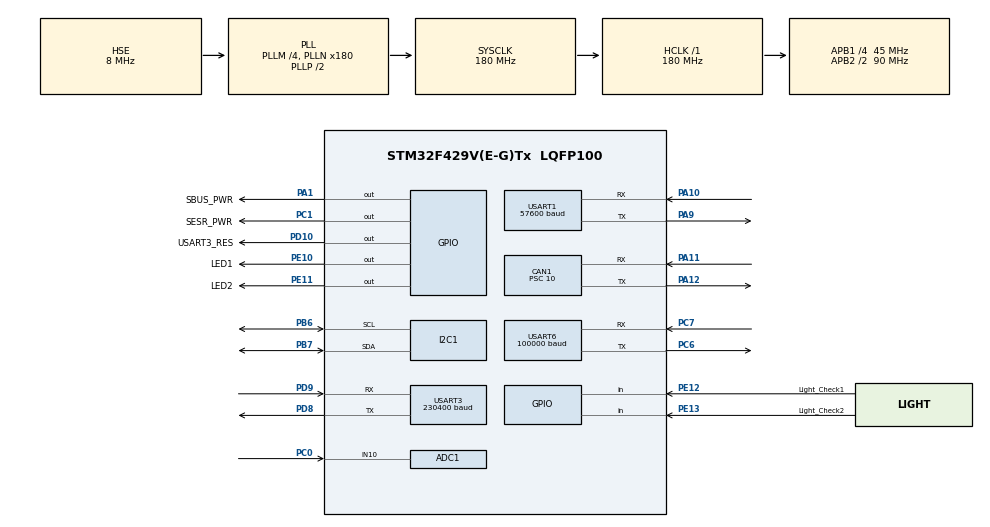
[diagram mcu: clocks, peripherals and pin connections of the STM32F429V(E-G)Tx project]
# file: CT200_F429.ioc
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ADC1.Channel-3\#ChannelRegularConversion=ADC_CHANNEL_TEMPSENSOR
ADC1.Channel-4\#ChannelRegularConversion=ADC_CHANNEL_10
ADC1.ContinuousConvMode=DISABLE
ADC1.DMAContinuousRequests=DISABLE
ADC1.DiscontinuousConvMode=ENABLE
ADC1.NbrOfConversion=2
ADC1.NbrOfConversionFlag=1
ADC1.Rank-3\#ChannelRegularConversion=1
ADC1.Rank-4\#ChannelRegularConversion=2
ADC1.SamplingTime-3\#ChannelRegularConversion=ADC_SAMPLETIME_112CYCLES
ADC1.SamplingTime-4\#ChannelRegularConversion=ADC_SAMPLETIME_112CYCLES
ADC1.ScanConvMode=ENABLE
ADC1.master=1
CAN1.ABOM=ENABLE
CAN1.AWUM=ENABLE
CAN1.BS1=CAN_BS1_9TQ
CAN1.BS2=CAN_BS2_8TQ
CAN1.CalculateBaudRate=250000
CAN1.CalculateTimeBit=4000
CAN1.CalculateTimeQuantum=222.22222222222223
CAN1.Prescaler=10
Dma.I2C1_RX.3.Direction=DMA_PERIPH_TO_MEMORY
Dma.I2C1_RX.3.FIFOMode=DMA_FIFOMODE_DISABLE
Dma.I2C1_RX.3.Instance=DMA1_Stream0
Dma.I2C1_RX.3.MemDataAlignment=DMA_MDATAALIGN_BYTE
Dma.I2C1_RX.3.MemInc=DMA_MINC_ENABLE
Dma.I2C1_RX.3.Mode=DMA_NORMAL
Dma.I2C1_RX.3.PeriphDataAlignment=DMA_PDATAALIGN_BYTE
Dma.I2C1_RX.3.PeriphInc=DMA_PINC_DISABLE
Dma.I2C1_RX.3.Priority=DMA_PRIORITY_HIGH
Dma.I2C1_TX.4.Direction=DMA_MEMORY_TO_PERIPH
Dma.I2C1_TX.4.FIFOMode=DMA_FIFOMODE_DISABLE
Dma.I2C1_TX.4.Instance=DMA1_Stream6
Dma.I2C1_TX.4.MemDataAlignment=DMA_MDATAALIGN_BYTE
Dma.I2C1_TX.4.MemInc=DMA_MINC_ENABLE
Dma.I2C1_TX.4.Mode=DMA_NORMAL
Dma.I2C1_TX.4.PeriphDataAlignment=DMA_PDATAALIGN_BYTE
Dma.I2C1_TX.4.PeriphInc=DMA_PINC_DISABLE
Dma.I2C1_TX.4.Priority=DMA_PRIORITY_HIGH
Dma.Request0=USART3_RX
Dma.Request1=USART3_TX
Dma.Request2=USART6_RX
Dma.Request3=I2C1_RX
Dma.Request4=I2C1_TX
Dma.Request5=USART1_RX
Dma.Request6=USART1_TX
Dma.USART1_RX.5.Direction=DMA_PERIPH_TO_MEMORY
Dma.USART1_RX.5.FIFOMode=DMA_FIFOMODE_DISABLE
Dma.USART1_RX.5.Instance=DMA2_Stream2
Dma.USART1_RX.5.MemDataAlignment=DMA_MDATAALIGN_BYTE
Dma.USART1_RX.5.MemInc=DMA_MINC_ENABLE
Dma.USART1_RX.5.Mode=DMA_NORMAL
Dma.USART1_RX.5.PeriphDataAlignment=DMA_PDATAALIGN_BYTE
Dma.USART1_RX.5.PeriphInc=DMA_PINC_DISABLE
Dma.USART1_RX.5.Priority=DMA_PRIORITY_LOW
Dma.USART1_TX.6.Direction=DMA_MEMORY_TO_PERIPH
Dma.USART1_TX.6.FIFOMode=DMA_FIFOMODE_DISABLE
Dma.USART1_TX.6.Instance=DMA2_Stream7
Dma.USART1_TX.6.MemDataAlignment=DMA_MDATAALIGN_BYTE
Dma.USART1_TX.6.MemInc=DMA_MINC_ENABLE
Dma.USART1_TX.6.Mode=DMA_NORMAL
Dma.USART1_TX.6.PeriphDataAlignment=DMA_PDATAALIGN_BYTE
Dma.USART1_TX.6.PeriphInc=DMA_PINC_DISABLE
Dma.USART1_TX.6.Priority=DMA_PRIORITY_LOW
Dma.USART3_RX.0.Direction=DMA_PERIPH_TO_MEMORY
Dma.USART3_RX.0.FIFOMode=DMA_FIFOMODE_DISABLE
Dma.USART3_RX.0.Instance=DMA1_Stream1
Dma.USART3_RX.0.MemDataAlignment=DMA_MDATAALIGN_BYTE
Dma.USART3_RX.0.MemInc=DMA_MINC_ENABLE
Dma.USART3_RX.0.Mode=DMA_NORMAL
Dma.USART3_RX.0.PeriphDataAlignment=DMA_PDATAALIGN_BYTE
Dma.USART3_RX.0.PeriphInc=DMA_PINC_DISABLE
Dma.USART3_RX.0.Priority=DMA_PRIORITY_LOW
Dma.USART3_TX.1.Direction=DMA_MEMORY_TO_PERIPH
Dma.USART3_TX.1.FIFOMode=DMA_FIFOMODE_DISABLE
Dma.USART3_TX.1.Instance=DMA1_Stream3
Dma.USART3_TX.1.MemDataAlignment=DMA_MDATAALIGN_BYTE
Dma.USART3_TX.1.MemInc=DMA_MINC_ENABLE
Dma.USART3_TX.1.Mode=DMA_NORMAL
Dma.USART3_TX.1.PeriphDataAlignment=DMA_PDATAALIGN_BYTE
Dma.USART3_TX.1.PeriphInc=DMA_PINC_DISABLE
Dma.USART3_TX.1.Priority=DMA_PRIORITY_VERY_HIGH
Dma.USART6_RX.2.Direction=DMA_PERIPH_TO_MEMORY
Dma.USART6_RX.2.FIFOMode=DMA_FIFOMODE_DISABLE
Dma.USART6_RX.2.Instance=DMA2_Stream1
Dma.USART6_RX.2.MemDataAlignment=DMA_MDATAALIGN_BYTE
Dma.USART6_RX.2.MemInc=DMA_MINC_ENABLE
Dma.USART6_RX.2.Mode=DMA_CIRCULAR
Dma.USART6_RX.2.PeriphDataAlignment=DMA_PDATAALIGN_BYTE
Dma.USART6_RX.2.PeriphInc=DMA_PINC_DISABLE
Dma.USART6_RX.2.Priority=DMA_PRIORITY_MEDIUM
FREERTOS.BinarySemaphores01=BinarySem01,Dynamic,NULL;BinarySem02,Dynamic,NULL
FREERTOS.INCLUDE_vTaskDelayUntil=1
FREERTOS.Tasks01=Task01,-1,512,StartTask01,Default,NULL,Dynamic,NULL,NULL;Task02,2,128,StartTask02,Default,NULL,Dynamic,NULL,NULL;Task03,0,128,StartTask03,Default,NULL,Dynamic,NULL,NULL;Task04,1,128,StartTask04,Default,NULL,Dynamic,NULL,NULL
FREERTOS.Timers01=myTimer01,Callback01,osTimerPeriodic,Default,NULL,Dynamic,NULL
FREERTOS.configUSE_TIMERS=1
I2C1.I2C_Mode=I2C_Fast
IWDG.Prescaler=IWDG_PRESCALER_64
Mcu.Family=STM32F4
Mcu.Name=STM32F429V(E-G)Tx
Mcu.Package=LQFP100
NVIC.CAN1_RX0_IRQn=true\:5\:0\:false\:false\:true\:true\:true\:true\:true
NVIC.DMA1_Stream0_IRQn=true\:5\:0\:false\:false\:true\:true\:false\:true\:true
NVIC.DMA1_Stream1_IRQn=true\:5\:0\:false\:false\:true\:true\:false\:true\:true
NVIC.DMA1_Stream3_IRQn=true\:5\:0\:false\:false\:true\:true\:false\:true\:true
NVIC.DMA1_Stream6_IRQn=true\:5\:0\:false\:false\:true\:true\:false\:true\:true
NVIC.DMA2_Stream1_IRQn=true\:5\:0\:false\:false\:true\:true\:false\:true\:true
NVIC.DMA2_Stream2_IRQn=true\:5\:0\:false\:false\:true\:true\:false\:true\:true
NVIC.DMA2_Stream7_IRQn=true\:5\:0\:false\:false\:true\:true\:false\:true\:true
NVIC.I2C1_ER_IRQn=true\:5\:0\:false\:false\:true\:true\:true\:true\:true
NVIC.I2C1_EV_IRQn=true\:5\:0\:false\:false\:true\:true\:true\:true\:true
NVIC.PriorityGroup=NVIC_PRIORITYGROUP_4
NVIC.TIM1_UP_TIM10_IRQn=true\:15\:0\:false\:false\:true\:false\:false\:true\:true
NVIC.TIM3_IRQn=true\:5\:0\:false\:false\:true\:true\:true\:true\:true
NVIC.TimeBase=TIM1_UP_TIM10_IRQn
NVIC.TimeBaseIP=TIM1
NVIC.USART1_IRQn=true\:5\:0\:false\:false\:true\:true\:true\:true\:true
NVIC.USART3_IRQn=true\:5\:0\:false\:false\:true\:true\:true\:true\:true
NVIC.USART6_IRQn=true\:5\:0\:false\:false\:true\:true\:true\:true\:true
PA0/WKUP.Mode=SYS_WakeUp0
PA0/WKUP.Signal=SYS_WKUP
PA1.GPIO_Label=SBUS_PWR 
PA1.PinState=GPIO_PIN_SET
PA1.Signal=GPIO_Output
PA10.Mode=Asynchronous
PA10.Signal=USART1_RX
PA11.Mode=CAN_Activate
PA11.Signal=CAN1_RX
PA12.Mode=CAN_Activate
PA12.Signal=CAN1_TX
PA13.Mode=Serial_Wire
PA13.Signal=SYS_JTMS-SWDIO
PA14.Mode=Serial_Wire
PA14.Signal=SYS_JTCK-SWCLK
PA9.Mode=Asynchronous
PA9.Signal=USART1_TX
PB6.Mode=I2C
PB6.Signal=I2C1_SCL
PB7.Mode=I2C
PB7.Signal=I2C1_SDA
PC0.Signal=ADCx_IN10
PC1.GPIO_Label=SESR_PWR
PC1.PinState=GPIO_PIN_SET
PC1.Signal=GPIO_Output
PC6.Mode=Asynchronous
PC6.Signal=USART6_TX
PC7.Mode=Asynchronous
PC7.Signal=USART6_RX
PD10.GPIO_Label=USART3_RES
PD10.Signal=GPIO_Output
PD8.Mode=Asynchronous
PD8.Signal=USART3_TX
PD9.Mode=Asynchronous
PD9.Signal=USART3_RX
PE10.GPIO_Label=LED1
PE10.Signal=GPIO_Output
PE11.GPIO_Label=LED2
PE11.Signal=GPIO_Output
PE12.GPIO_Label=Light_Check1
PE12.Signal=GPIO_Input
PE13.GPIO_Label=Light_Check2
PE13.Signal=GPIO_Input
PH0/OSC_IN.Mode=HSE-External-Oscillator
PH0/OSC_IN.Signal=RCC_OSC_IN
PH1/OSC_OUT.Mode=HSE-External-Oscillator
PH1/OSC_OUT.Signal=RCC_OSC_OUT
ProjectManager.HeapSize=0x200
ProjectManager.StackSize=0x400
ProjectManager.TargetToolchain=MDK-ARM V5.32
RCC.48MHZClocksFreq_Value=45000000
RCC.AHBFreq_Value=180000000
RCC.APB1CLKDivider=RCC_HCLK_DIV4
RCC.APB1Freq_Value=45000000
RCC.APB1TimFreq_Value=90000000
RCC.APB2CLKDivider=RCC_HCLK_DIV2
RCC.APB2Freq_Value=90000000
RCC.APB2TimFreq_Value=180000000
RCC.CortexFreq_Value=180000000
RCC.HCLKFreq_Value=180000000
RCC.HSE_VALUE=8000000
RCC.HSI_VALUE=16000000
RCC.LSE_VALUE=32768
RCC.PLLM=4
RCC.PLLN=180
RCC.PLLQ=8
RCC.PLLSourceVirtual=RCC_PLLSOURCE_HSE
RCC.SYSCLKFreq_VALUE=180000000
RCC.SYSCLKSource=RCC_SYSCLKSOURCE_PLLCLK
RCC.VCOOutputFreq_Value=360000000
SH.ADCx_IN10.0=ADC1_IN10,IN10
TIM3.AutoReloadPreload=TIM_AUTORELOAD_PRELOAD_DISABLE
TIM3.CounterMode=TIM_COUNTERMODE_UP
TIM3.Period=1000-1
TIM3.Prescaler=90-1
USART1.BaudRate=57600
USART1.VirtualMode=VM_ASYNC
USART3.BaudRate=230400
USART3.VirtualMode=VM_ASYNC
USART6.BaudRate=100000
USART6.Mode=MODE_RX
USART6.Parity=PARITY_EVEN
USART6.StopBits=STOPBITS_2
USART6.VirtualMode=VM_ASYNC
VP_ADC1_TempSens_Input.Mode=IN-TempSens
VP_FREERTOS_VS_CMSIS_V1.Mode=CMSIS_V1
VP_IWDG_VS_IWDG.Mode=IWDG_Activate
VP_SYS_VS_tim1.Mode=TIM1
VP_TIM3_VS_ClockSourceINT.Mode=Internal
board=custom

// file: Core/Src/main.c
/* USER CODE BEGIN Header */
/**
  ******************************************************************************
  * @file           : main.c
  * @brief          : Main program body
  ******************************************************************************
  * @attention
  *
  * <h2><center>&copy; Copyright (c) 2022 STMicroelectronics.
  * All rights reserved.</center></h2>
  *
  * This software component is licensed by ST under Ultimate Liberty license
  * SLA0044, the "License"; You may not use this file except in compliance with
  * the License. You may obtain a copy of the License at:
  *                             www.st.com/SLA0044
  *
  ******************************************************************************
  */
/* USER CODE END Header */
#include "main.h"
#include "cmsis_os.h"
#include "adc.h"
#include "can.h"
#include "dma.h"
#include "i2c.h"
#include "iwdg.h"
#include "tim.h"
#include "usart.h"
#include "gpio.h"

/* USER CODE BEGIN Includes */
#include "handle.h"
#include "air820.h"
#include "CANopen_Master_M200.h"
#include "canfestival.h"
#include "can_device.h"
/* USER CODE END Includes */

/* USER CODE BEGIN PV */
unsigned char nodeID=0x00;
extern CO_Data CANopen_Master_M200_Data;
char softWareName[16];
//UNS8 data = 0;
//UNS32 size = 0;

/* USER CODE END PV */

void SystemClock_Config(void);
void MX_FREERTOS_Init(void);

int main(void)
{
  /* USER CODE BEGIN 1 */
  //	SCB->VTOR = FLASHSIZE_BASE | 0x10000;
	control_flag.resetSource = 0;
	getSysReseySource();
	__HAL_RCC_CLEAR_RESET_FLAGS();

  /* USER CODE END 1 */

  /* MCU Configuration--------------------------------------------------------*/

  /* Reset of all peripherals, Initializes the Flash interface and the Systick. */
  HAL_Init();

  /* Configure the system clock */
  SystemClock_Config();

  /* Initialize all configured peripherals */
  MX_GPIO_Init();
  MX_DMA_Init();
  MX_USART1_UART_Init();
  MX_USART3_UART_Init();
  MX_USART6_UART_Init();
  MX_CAN1_Init();
  MX_I2C1_Init();
  MX_ADC1_Init();
  //MX_IWDG_Init();
  MX_TIM3_Init();
  /* USER CODE BEGIN 2 */
	//HAL_ADC_Start_DMA(&hadc1, (uint32_t *)&ADC_VALUE, 1);

	HAL_ADC_Start(&hadc1);
	HAL_TIM_Base_Start_IT(&htim3);
	// HAL_UART_Receive_DMA(&huart3,(uint8_t *)usart3_handle_4g.rx_buf,RX_SIZE);
    // __HAL_UART_ENABLE_IT(&huart3, UART_IT_IDLE);

  HAL_UART_Receive_DMA(&huart3, (uint8_t*)&mpu_rec_pack, sizeof(MPU_REC_PACK));
  __HAL_UART_ENABLE_IT(&huart3, UART_IT_IDLE);

	HAL_UART_Receive_DMA(&huart1,(uint8_t *)usart1_handle_sbus.rx_buf,RX_SIZE);
  __HAL_UART_ENABLE_IT(&huart1, UART_IT_IDLE);

    // CAN滤波配置
	can_filter_config();

	/* CAN主机初始化 */
	setNodeId(&CANopen_Master_M200_Data, nodeID);
	setState(&CANopen_Master_M200_Data, Operational);        // Init the state

	control_init();		// 控制参数初始化
	device_init();		// 设备初始化

	// 4G模块初始化
    //air_4g_init(0,0);

    // 启动所有CAN从机
	carDeviceStart();

    // CAN从机版本号读取
	canDeviceVersionRead();

    // 看门狗初始化
	// MX_IWDG_Init();
  /* USER CODE END 2 */

  /* Call init function for freertos objects (in freertos.c) */
  MX_FREERTOS_Init();

  /* Start scheduler */
  osKernelStart();
  /* We should never get here as control is now taken by the scheduler */
  /* Infinite loop */
  while (1)
  {

  }
}

void SystemClock_Config(void)
{
  RCC_OscInitTypeDef RCC_OscInitStruct = {0};
  RCC_ClkInitTypeDef RCC_ClkInitStruct = {0};

  /** Configure the main internal regulator output voltage
  */
  __HAL_RCC_PWR_CLK_ENABLE();
  __HAL_PWR_VOLTAGESCALING_CONFIG(PWR_REGULATOR_VOLTAGE_SCALE1);

  /** Initializes the RCC Oscillators according to the specified parameters
  * in the RCC_OscInitTypeDef structure.
  */
  RCC_OscInitStruct.OscillatorType = RCC_OSCILLATORTYPE_LSI|RCC_OSCILLATORTYPE_HSE;
  RCC_OscInitStruct.HSEState = RCC_HSE_ON;
  RCC_OscInitStruct.LSIState = RCC_LSI_ON;
  RCC_OscInitStruct.PLL.PLLState = RCC_PLL_ON;
  RCC_OscInitStruct.PLL.PLLSource = RCC_PLLSOURCE_HSE;
  RCC_OscInitStruct.PLL.PLLM = 4;
  RCC_OscInitStruct.PLL.PLLN = 180;
  RCC_OscInitStruct.PLL.PLLP = RCC_PLLP_DIV2;
  RCC_OscInitStruct.PLL.PLLQ = 8;
  if (HAL_RCC_OscConfig(&RCC_OscInitStruct) != HAL_OK)
  {
    Error_Handler();
  }

  /** Activate the Over-Drive mode
  */
  if (HAL_PWREx_EnableOverDrive() != HAL_OK)
  {
    Error_Handler();
  }

  /** Initializes the CPU, AHB and APB buses clocks
  */
  RCC_ClkInitStruct.ClockType = RCC_CLOCKTYPE_HCLK|RCC_CLOCKTYPE_SYSCLK
                              |RCC_CLOCKTYPE_PCLK1|RCC_CLOCKTYPE_PCLK2;
  RCC_ClkInitStruct.SYSCLKSource = RCC_SYSCLKSOURCE_PLLCLK;
  RCC_ClkInitStruct.AHBCLKDivider = RCC_SYSCLK_DIV1;
  RCC_ClkInitStruct.APB1CLKDivider = RCC_HCLK_DIV4;
  RCC_ClkInitStruct.APB2CLKDivider = RCC_HCLK_DIV2;

  if (HAL_RCC_ClockConfig(&RCC_ClkInitStruct, FLASH_LATENCY_5) != HAL_OK)
  {
    Error_Handler();
  }
}

void HAL_TIM_PeriodElapsedCallback(TIM_HandleTypeDef *htim)
{
  if (htim->Instance == TIM1) {
    HAL_IncTick();
		if(air_4g_flag.get_realtime_flag == TRUE)
		{
			control_flag.realTimer_ms_1000++;
			if(control_flag.realTimer_ms_1000 == 1000)
			{
				control_flag.realTimer_ms_1000 = 0;
				timer_info.timestamp++;
			}
		}

  }
  /* USER CODE BEGIN Callback 1 */
	if (htim->Instance == TIM3) {
    timerForCan();
  }
  /* USER CODE END Callback 1 */
}

void Error_Handler(void)
{
  __disable_irq();
  while (1)
  {
  }
}

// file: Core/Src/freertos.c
/* USER CODE BEGIN Header */
/**
  ******************************************************************************
  * File Name          : freertos.c
  * Description        : Code for freertos applications
  ******************************************************************************
  * @attention
  *
  * <h2><center>&copy; Copyright (c) 2022 STMicroelectronics.
  * All rights reserved.</center></h2>
  *
  * This software component is licensed by ST under Ultimate Liberty license
  * SLA0044, the "License"; You may not use this file except in compliance with
  * the License. You may obtain a copy of the License at:
  *                             www.st.com/SLA0044
  *
  ******************************************************************************
  */
/* USER CODE END Header */

#include "FreeRTOS.h"
#include "task.h"
#include "main.h"
#include "cmsis_os.h"

/* USER CODE BEGIN Includes */
#include "handle.h"
#include "can.h"
#include "adc_read.h"
#include "can_device.h"
#include "iwdg.h"
#include "air820.h"
#include "canfestival.h"
#include "CANopen_Master_M200.h"
/* USER CODE END Includes */

/* USER CODE BEGIN Variables */
//int fan_num1 = 0;
//int fan_num2 = 0;

extern CO_Data CANopen_Master_M200_Data;
//uint8_t INDECATOR_LIGHT_IDLE = 0;			// 同步帧标志位
//uint16_t INDECATOR_LIGHT_IDLE_NUM = 0;

//UNS8 data = 0;
//UNS32 size = sizeof(data);

/* USER CODE END Variables */
osThreadId Task01Handle;
osThreadId Task02Handle;
osThreadId Task03Handle;
osThreadId Task04Handle;
osTimerId myTimer01Handle;
osSemaphoreId BinarySem01Handle;
osSemaphoreId BinarySem02Handle;

void StartTask01(void const * argument);
void StartTask02(void const * argument);
void StartTask03(void const * argument);
void StartTask04(void const * argument);
void Callback01(void const * argument);

void MX_FREERTOS_Init(void); /* (MISRA C 2004 rule 8.1) */

/* GetIdleTaskMemory prototype (linked to static allocation support) */
void vApplicationGetIdleTaskMemory( StaticTask_t **ppxIdleTaskTCBBuffer, StackType_t **ppxIdleTaskStackBuffer, uint32_t *pulIdleTaskStackSize );

/* GetTimerTaskMemory prototype (linked to static allocation support) */
void vApplicationGetTimerTaskMemory( StaticTask_t **ppxTimerTaskTCBBuffer, StackType_t **ppxTimerTaskStackBuffer, uint32_t *pulTimerTaskStackSize );

/* USER CODE BEGIN GET_IDLE_TASK_MEMORY */
static StaticTask_t xIdleTaskTCBBuffer;
static StackType_t xIdleStack[configMINIMAL_STACK_SIZE];

void vApplicationGetIdleTaskMemory( StaticTask_t **ppxIdleTaskTCBBuffer, StackType_t **ppxIdleTaskStackBuffer, uint32_t *pulIdleTaskStackSize )
{
  *ppxIdleTaskTCBBuffer = &xIdleTaskTCBBuffer;
  *ppxIdleTaskStackBuffer = &xIdleStack[0];
  *pulIdleTaskStackSize = configMINIMAL_STACK_SIZE;
  /* place for user code */
}
/* USER CODE END GET_IDLE_TASK_MEMORY */

/* USER CODE BEGIN GET_TIMER_TASK_MEMORY */
static StaticTask_t xTimerTaskTCBBuffer;
static StackType_t xTimerStack[configTIMER_TASK_STACK_DEPTH];

void vApplicationGetTimerTaskMemory( StaticTask_t **ppxTimerTaskTCBBuffer, StackType_t **ppxTimerTaskStackBuffer, uint32_t *pulTimerTaskStackSize )
{
  *ppxTimerTaskTCBBuffer = &xTimerTaskTCBBuffer;
  *ppxTimerTaskStackBuffer = &xTimerStack[0];
  *pulTimerTaskStackSize = configTIMER_TASK_STACK_DEPTH;
  /* place for user code */
}
/* USER CODE END GET_TIMER_TASK_MEMORY */

void MX_FREERTOS_Init(void) {

  /* Create the semaphores(s) */
  /* definition and creation of BinarySem01 */
  osSemaphoreDef(BinarySem01);
  BinarySem01Handle = osSemaphoreCreate(osSemaphore(BinarySem01), 1);

  /* definition and creation of BinarySem02 */
  osSemaphoreDef(BinarySem02);
  BinarySem02Handle = osSemaphoreCreate(osSemaphore(BinarySem02), 1);

  /* Create the timer(s) */
  /* definition and creation of myTimer01 */
  osTimerDef(myTimer01, Callback01);
  myTimer01Handle = osTimerCreate(osTimer(myTimer01), osTimerPeriodic, NULL);

  /* USER CODE BEGIN RTOS_TIMERS */
  /* start timers, add new ones, ... */
	osTimerStart(myTimer01Handle, 100);
  /* USER CODE END RTOS_TIMERS */

  /* Create the thread(s) */
  /* definition and creation of Task01 */
  osThreadDef(Task01, StartTask01, osPriorityBelowNormal, 0, 512);
  Task01Handle = osThreadCreate(osThread(Task01), NULL);

  /* definition and creation of Task02 */
  osThreadDef(Task02, StartTask02, osPriorityHigh, 0, 128);
  Task02Handle = osThreadCreate(osThread(Task02), NULL);

  /* definition and creation of Task03 */
  osThreadDef(Task03, StartTask03, osPriorityNormal, 0, 128);
  Task03Handle = osThreadCreate(osThread(Task03), NULL);

  /* definition and creation of Task04 */
  osThreadDef(Task04, StartTask04, osPriorityAboveNormal, 0, 128);
  Task04Handle = osThreadCreate(osThread(Task04), NULL);

}

void StartTask01(void const * argument)
{
  /* USER CODE BEGIN StartTask01 */
  /* Infinite loop *//*------------------------------4G--------------------------------*/
  for(;;)
  {

        if(control_flag.sTimer_ms_1000 >= Count_1s)
        {
            control_flag.sTimer_ms_1000 = 0;
            if (gps_info.gpsCheckcount < 120)
            {
              gps_info.gpsCheckcount++;
            }
            //运行状态下每120s检查一次GPS连接
            if(gps_info.gpsCheckcount == 120)
            {
              if(control_flag.Car_State == RUN)
              {
                if(gps_info.gps_signal_flag != 0x31)
                {
                  gpsReset(air_4g_flag.vTa_delay);
                  gps_info.gpsCheckcount = 0;
                  gps_info.gpsUrc =10;
                  gps_info.gpsUrcSet = 1;
                }
              }
            }

            if(control_flag.Car_State == RUN)
            {
                // air_4g_MPUB(control_flag.Car_State);    // 运行状态下发送
                air_4g_MPUB(RUN);    // 运行状态下发送
            }
            else if(control_flag.Car_State == CLOSE && control_flag.sTimer_ms_10000 == Count_10s)	//运行状态跳回睡眠状态、待机状态下需等待运行记录上报事件完毕
            {
                control_flag.sTimer_ms_10000 = 0;
                // air_4g_MPUB(control_flag.Car_State);    // 睡眠状态下发送
                air_4g_MPUB(CLOSE);    // 睡眠状态下发送
            }
            else if(control_flag.Car_State == OPEN && control_flag.sTimer_ms_5000 == Count_5s)
            {
                control_flag.sTimer_ms_5000 = 0;
                // air_4g_MPUB(control_flag.Car_State);    // 待机状态下发送
                air_4g_MPUB(OPEN);    // 待机状态下发送
            }
            else if(control_flag.Car_State == FAULT && control_flag.sTimer_ms_5000 == Count_5s)
            {
                control_flag.sTimer_ms_5000 = 0;
                // air_4g_MPUB(control_flag.Car_State);    //异常状态下发送
                air_4g_MPUB(FAULT);    //异常状态下发送
            }
            else if(control_flag.Car_State == RECHARGE && control_flag.sTimer_ms_10000 == Count_10s)
            {
                control_flag.sTimer_ms_10000 = 0;
                // air_4g_MPUB(control_flag.Car_State);    // 充电状态下发送
                air_4g_MPUB(RECHARGE);    // 充电状态下发送
            }

						sbus_tx(&sbus_pack_data, HEARTBEAT_ID);// 运行状态下数传发送
						while (huart1.gState != HAL_UART_STATE_READY){}
						memset(&sbus_pack_data,0,sizeof(sbus_pack_data));
            mpu_msg_tx();

            // air_4g_connect.air820Count++;
            // if (gps_info.gpsCheckcount < 120)
            // {
            //   gps_info.gpsCheckcount++;
            // }
            // 车辆运行数据上报,目前每次慢300ms
            // if(air_4g_flag.MQTT_flag == TRUE /* && control_flag.event_mpub_mutex == FALSE && gps_info.LBSRxFlag == FALSE*/)
            // {
            //     if(control_flag.event_mpub_single_flag == TRUE)
            //     {
            //       air_4g_MPUB_event(WORK_EVENT_MAIN);
            //       air_4g_MPUB_event(WORK_EVENT_TRACK);
            //       while (huart3.gState != HAL_UART_STATE_READY){}
            //       memset(&sing_work_event,0,sizeof(sing_work_event));//上报完后清空运行记录结构体数据
            //       control_flag.event_mpub_single_flag = FALSE;
            //     }
            //     else
            //     {
            //         if(control_flag.Car_State == RUN)
            //         {
            //             // air_4g_MPUB(control_flag.Car_State);    // 运行状态下发送
            //             air_4g_MPUB(RUN);    // 运行状态下发送
            //         }
            //         else if(control_flag.Car_State == CLOSE && control_flag.sTimer_ms_10000 == Count_10s)	//运行状态跳回睡眠状态、待机状态下需等待运行记录上报事件完毕
            //         {
            //             control_flag.sTimer_ms_10000 = 0;
            //             // air_4g_MPUB(control_flag.Car_State);    // 睡眠状态下发送
            //             air_4g_MPUB(CLOSE);    // 睡眠状态下发送
            //         }
            //         else if(control_flag.Car_State == OPEN && control_flag.sTimer_ms_5000 == Count_5s)
            //         {
            //             control_flag.sTimer_ms_5000 = 0;
            //             // air_4g_MPUB(control_flag.Car_State);    // 待机状态下发送
            //             air_4g_MPUB(OPEN);    // 待机状态下发送
            //         }
            //         else if(control_flag.Car_State == FAULT && control_flag.sTimer_ms_5000 == Count_5s)
            //         {
            //             control_flag.sTimer_ms_5000 = 0;
            //             // air_4g_MPUB(control_flag.Car_State);    //异常状态下发送
            //             air_4g_MPUB(FAULT);    //异常状态下发送
            //         }
            //         else if(control_flag.Car_State == RECHARGE && control_flag.sTimer_ms_10000 == Count_10s)
            //         {
            //             control_flag.sTimer_ms_10000 = 0;
            //             // air_4g_MPUB(control_flag.Car_State);    // 充电状态下发送
            //             air_4g_MPUB(RECHARGE);    // 充电状态下发送
            //         }
            //         usart1_sbus_tx();// 运行状态下数传发送
            //         while (huart1.gState != HAL_UART_STATE_READY){}
            //         memset(&sbus_pack_data,0,sizeof(sbus_pack_data));

            //         while (huart3.gState != HAL_UART_STATE_READY){}
            //         memset(mqtt_pub_inform.PubBuf,0,sizeof(mqtt_pub_inform.PubBuf));
            //     }
            // }

    //         //复位后每秒发送一次获取实时时间指令直到时间校准成功
    //         if(air_4g_flag.get_realtime_flag == FALSE)
    //         {
    //           get_real_time(1);
    //         }

    //         //每20s读取一次4G当前信息
    //         if(air_4g_connect.air820Count == 10)
    //         {
    //           air_4g_connect.air820Count = 0;
    //           get_4G_msg(1);// 获取4G当前信息(MQTT连接状态、4G信号质量)
    //         }

    //         //运行状态下每120s检查一次GPS连接
    //         if(gps_info.gpsCheckcount == 120)
    //         {
    //           if(control_flag.Car_State == RUN)
    //           {
    //             if(gps_info.gps_signal_flag != 0x31)
    //             {
    //               gpsReset(air_4g_flag.vTa_delay);
    //               gps_info.gpsCheckcount = 0;
    //               gps_info.gpsUrc =10;
    //               gps_info.gpsUrcSet = 1;
    //             }
    //           }
    //         }
    //     }

    //     // 调整GPS上报频率
    //     if(gps_info.gpsUrc != gps_info.gpsUrcSet)
    //     {
    //         char gpsBuf[20];
    //         sprintf(gpsBuf, "AT+CGNSURC=%d\r", gps_info.gpsUrcSet);
    //         air4g_send_cmd("ATE0\r", "OK", 50, air_4g_flag.vTa_delay);
    //         air4g_send_cmd(gpsBuf, "OK", 100, air_4g_flag.vTa_delay);
    //         gps_info.gpsUrc = gps_info.gpsUrcSet;
    //     }

    //     // 开启蓝牙
    //     if(ble_inform.ble_switch_state != ble_inform.ble_switch)
    //     {
    //         if(ble_inform.ble_switch == TRUE)
    //         {
    //             ble_swit_on(1);
    //         }
    //         else if(ble_inform.ble_switch == FALSE)
    //         {
    //             ble_swit_off(1);
    //         }
    //         ble_inform.ble_switch_state = ble_inform.ble_switch;
    //     }

    //     // 如果在绑定模式下接收到了绑定请求，就关闭绑定模式，并通过蓝牙给手机发送三元组信息
    //     if(control_flag.Car_State == OPEN && control_flag.Bound_flag == TRUE)
    //     {
    //         control_flag.Bound_flag 	= FALSE;

    //         /*
    //         发送三元组信息及其他传输
    //         AT+BLECOMM=SENDDATA,fee2,21,7172735F7465737436246768333750317A51646F47
    //         */
    //         air4g_send_cmd(ble_inform.dev_send_cmd, "OK", 100, air_4g_flag.vTa_delay);
    //     }

    //     // 车辆和MQTT服务器断开连接
		// if(air_4g_flag.MQTT_flag == FALSE)
		// {

    //         // 回显模式关闭
    //         for(uint8_t i = 0; i < 5; i++)
    //         {
    //             vTaskDelay (1000);
    //             if(!air4g_send_cmd("ATE0\r", "OK", 500, air_4g_flag.vTa_delay))
    //                 break;
    //         }
    //         air4g_send_cmd("AT+MQTTSTATU\r", "+MQTTSTATU :1", 200, air_4g_flag.vTa_delay);
    //         // 再次检查车辆和MQTT服务器连接是否正常，这里可以检查3次
    //         if(air_4g_flag.MQTT_flag == TRUE)
    //         {
    //             air_4g_flag.MQTT_flag = TRUE;
    //             air_4g_flag.SIM_flag = TRUE;
    //         }
    //         else
    //         {
    //             /******检查SIM卡连接是否正常*******/

    //             // 如果车辆和接蜂窝网络连接正常，这里可以检查3次

    //             for(uint8_t i = 0; i <= 3; i++)
    //             {
    //                 air_4g_closeURC(1);
    //                 // 如果车辆和接蜂窝网络连接不正常
    //                 if(i >= 3)
    //                 {
    //                     air_4g_flag.SIM_flag = FALSE;
    //                     // 蜂窝网络连接不正常，就让4G模块重启
    //                     air_4g_restar(air_4g_flag.vTa_delay);
    //                     break;
    //                 }
    //                 if(air_4g_net_check(1) == SIM_OK)
    //                 {
    //                     air_4g_flag.SIM_flag = TRUE;
    //                     if(air_4g_connect_server(0,1) == MQTT_CONNECT_OK)   // MQTT断连后自动关闭MQTT
    //                     {
    //                         // 如果车辆和MQTT服务器连接成功
    //                         air_4g_flag.MQTT_flag = TRUE;
    //                         air_4g_flag.SIM_flag = TRUE;
    //                         break;
    //                     }
    //                 }
    //                 vTaskDelay(1000);

    //             }

    //         }
    //         // 检查车辆和MQTT服务器是否连接，首次上报初次上线需要上报的信息
    //         if(air_4g_flag.MQTT_flag == TRUE)
    //         {
    //             air_4g_OTAMPUB(1);
    //             air_4g_OTASUB(1);
    //             topic_sub(1);
    //             // 开启主动上报
    //             air_4g_openURC(1);
    //         }

        }
        // 车辆和MQTT服务器连接正常
        else
        {
          vTaskDelay(10);
        }
        osDelay(1);
  }
  /* USER CODE END StartTask01 */
}

/* USER CODE BEGIN Header_StartTask02 */
/**
* @brief Function implementing the Task02 thread.
* @param argument: Not used
* @retval None
*/
uint8_t Check1=0;
uint8_t Check2=0;
/* USER CODE END Header_StartTask02 */
void StartTask02(void const * argument)
{
  /* USER CODE BEGIN StartTask02 */
  /* Infinite loop *//*------------------------------遥控器--------------------------------*/
  for(;;)
  {
        // 100ms逻辑：车辆控制
        if(control_flag.cTimer_ms_100 == 1)
        {
            control_flag.cTimer_ms_100=0;

            // 车辆控制状态机
            car_state_trans();
        }

        // 1s逻辑：散热风扇控制，主控盒开盖检测
        if(control_flag.cTimer_ms_1000 == 10)
        {
            control_flag.cTimer_ms_1000=0;

            // 散热风扇控制
            Boxfan_control();
            Carfan_control();

            // 开盖检测
            Check1 = HAL_GPIO_ReadPin(GPIOE,Light_Check1_Pin);
            Check2 = HAL_GPIO_ReadPin(GPIOE,Light_Check2_Pin);
            control_flag.main_kaihe_flag = (!Check1) | (!Check2);

            // 辅助S48100电池进行充电
            if(battery_data.battType == S48100)
            {
                S48100B_TEMP_CHECK();
            }
        }

        // 3s逻辑：读取电池数据，低电量判定
        if(control_flag.cTimer_ms_3000 == 30)
        {
            control_flag.cTimer_ms_3000 = 0;

            // 读取电池数据
            batteryReadData();

            // 判断风机水泵禁止逻辑
            // if(control_flag.Car_State == RUN)
            // {
            //     if(battery_data.soc > BatteryLowSOC_Level1)			// 电量高于一级电量报警值
            //     {
            //         battery_data.socState = SOC_ENOUGH;
            //         indicatorLight(LED12VR_LED12VRState);
            //         control_flag.DraughtPumpEnable = TRUE;
            //     }
            //     else if(battery_data.soc <= BatteryLowSOC_Level1 && battery_data.soc > BatteryLowSOC_Level2)		// 电量低于一级电量报警值，高于二级电量报警值
            //     {
            //         control_flag.DraughtPumpEnable = TRUE;
            //         battery_data.socState = SOC_LOW_LEVEL_1;
            //         LED12VR_LED12VRState = INDECATOR_LIGHT_ITEM_SOC_LOW_LEVEL_2;
            //         indicatorLight(LED12VL_LED12VLState);
            //     }
            //     else if(battery_data.soc <= BatteryLowSOC_Level2)	// 电量低于二级电量报警值
            //     {
            //         control_flag.DraughtPumpEnable = FALSE;
            //         battery_data.socState = SOC_LOW_LEVEL_2;
            //         LED12VL_LED12VLState = INDECATOR_LIGHT_ITEM_SOC_LOW_LEVEL_1;
            //         indicatorLight(LED12VR_LED12VRState);
            //     }
            //     else
            //     {
            //         control_flag.DraughtPumpEnable = TRUE;
            //         battery_data.socState = SOC_ENOUGH;
            //         indicatorLight(LED12VR_LED12VRState);
            //         control_flag.DraughtPumpEnable = TRUE;
            //     }
            // }
        }

        // 5s逻辑：读取电机数据，读取小电池数据
        if(control_flag.cTimer_ms_5000 == 50)
        {
            control_flag.cTimer_ms_5000 = 0;

            //读取电机驱动器数据
            read_moto_data();

            //按顺序读取ADC通道值
            adc_batt_read();
            adc_intem_read();

        }

        // 120s逻辑：软开关打开时进行低电量播报
        if(control_flag.cTimer_ms_60000 == 1200)
        {
            control_flag.cTimer_ms_60000 = 0;

            if(softSwitch_switchFlag == TRUE)
            {
                if(battery_data.soc <= BatteryLowSOC_Level1 && battery_data.soc > BatteryLowSOC_Level2)
                {
                    speakItem(SPEAK_ITEM_SOC(battery_data.soc));
                }
                else if(battery_data.soc <= BatteryLowSOC_Level2)
                {
                    speakItem(SPEAK_ITEM_WORK_BAN);
                    speakItem(SPEAK_ITEM_CHARGE_REMIND);
                }
            }
        }

        // 计时周期
        control_flag.cTimer_ms_100++;
        control_flag.cTimer_ms_1000++;
        control_flag.cTimer_ms_3000++;
        control_flag.cTimer_ms_5000++;
        control_flag.cTimer_ms_60000++;
        osDelay(90);
    }
  /* USER CODE END StartTask02 */
}

void StartTask03(void const * argument)
{
  /* USER CODE BEGIN StartTask03 */
  /* Infinite loop *//*--------------------------数据接收处理TASK--------------------------------*/
  for(;;)
  {
        if(osOK == osSemaphoreWait(BinarySem01Handle,osWaitForever))		// 收到串口接收信号量
        {
            //if(usart3_handle_4g.rx_len > SHORT_MESG)
            //{
            // 如果判断是GPS自动上报的数据，并且GNSS run status正常，则接收并更新经纬度信息，这里存在一个问题，就是GNSS run status异常，就不会更新GPS信息，这里需要做处理
            if(strstr((char*)usart3_handle_4g.report_buf,"+UGNSINF: 1") != NULL )
            {
                char *token;

                // strtok两次直接取第二个","之前的字符串
                token = strtok((char*)usart3_handle_4g.report_buf, ",");

                // 获取GPS信号
                gps_info.gps_signal_flag = *strtok(NULL, ",");	// 这个标志是GPS是否获取到了，实时更新

                // 获取GPS
								token = strtok(NULL,",");//分割一次逗号，但时间不在此获取
                if(gps_info.gps_signal_flag == 0x31 )		    // 第二个逗号到第一个逗号之间的值表示GPS有无获取   0x31：有
                {
                    token = strtok(NULL, ",");//获取纬度

                    //if(token[0] > 0x2f && token[0] < 0x3a)
                    if(token[0] > 0x30 && token[0] < 0x3a)
                    {
                        strcpy((char *)gps_info.Lat_nowstr, token);//拷贝纬度

                        token = strtok(NULL, ",");//获取纬度
                        strcpy((char *)gps_info.Lon_nowstr,token);//拷贝纬度

                        token = strtok(NULL, ".");//获取高程
                        gps_info.MSL_Altitude = atoi(token);
                        // strcpy((char *)gps_info.Msl_nowstr,token);//拷贝高程

                        if(control_flag.save_turn_flag == SET)
                        {
                            control_flag.save_turn_flag = RESET;
                            if(sing_work_event.save_track_count < SING_TRACK_MAX)
                            {
                                strcat(sing_work_event.trackData,(const char *)gps_info.Lon_nowstr);
                                strcat(sing_work_event.trackData,",");
                                strcat(sing_work_event.trackData,(const char *)gps_info.Lat_nowstr);
                                strcat(sing_work_event.trackData,";");
                                sing_work_event.save_track_count++;
                            }
                        }
                    }
                }
                else
                {
                    gps_info.gps_signal_flag=0;	//这个标志是GPS是否获取到了
                }
            }

						// 更新MQTT连接状态
            else if(strstr((char*)usart3_handle_4g.report_buf,"+MQTTSTATU :1")!=NULL)
            {
							air_4g_flag.MQTT_flag = TRUE;
            }
            else if(strstr((char*)usart3_handle_4g.report_buf,"+MQTTSTATU :0")!=NULL)
            {
							air_4g_flag.MQTT_flag = FALSE;
            }

						// 更新SIM卡信号质量
            //else if(strstr((char*)usart3_handle_4g.report_buf,"+CSQ:")!=NULL)
            else if(strstr((char*)usart3_handle_4g.report_buf,"+CSQ:")!=NULL)
            {
                char *token;
                token=strtok((char*)usart3_handle_4g.report_buf,":");
                token=strtok(NULL,",");
                air_4g_connect.sim_CSQ = atoi(token);
            }

			// 上报出错次数累计 58不识别指令允许100次
            else if(strstr((char*)usart3_handle_4g.report_buf,"ERROR: 58")!=NULL)
            {
				if(control_flag.error_res_count<100) {
                    control_flag.error_res_count++;
                }
                else{
                    control_flag.error_res_flag = TRUE;
                }
            }

            // 在绑定模式模式下
            else if((control_flag.Match_flag == TRUE) && (strstr((char*)usart3_handle_4g.report_buf,"+BLEIND=DATA")!=NULL))
            {
                /*
                连接状态上报
                +BLEIND=CONNECT,"73:80:b7:3f:3c:12"
                接收到数据
                +BLEIND=DATA,"fee1",3,"303124"
                接收到数据
                +BLEIND=DATA,"fee1",3,"303324"
                */
                if(strstr((char*)usart3_handle_4g.report_buf,"303124")!=NULL )
                {
                    control_flag.Bound_flag = TRUE;
                }
                else if(strstr((char*)usart3_handle_4g.report_buf,"303224")!=NULL )
                {
                    speakItem(SPEAK_ITEM_BIND_FAIL);			//语音播报“绑定失败”
                }
                else if(strstr((char*)usart3_handle_4g.report_buf,"303324")!=NULL )
                {
                    speakItem(SPEAK_ITEM_BIND_SECCEEED);		//语音播报“绑定成功”
                }
            }
            //开机时校准一次实时时间
            else if(strstr((char*)usart3_handle_4g.report_buf,"+CCLK:")!=NULL)
            {
							if(strlen((char*)usart3_handle_4g.report_buf) >= 31)
							{
                char *token;
								memset(timer_info.Utc_nowstr,0,16);
								if(strlen((char*)timer_info.Utc_nowstr) == 0)
								{
									token=strtok((char*)usart3_handle_4g.report_buf,"/");
									strcat((char *)timer_info.Utc_nowstr,"20");
									strcat((char *)timer_info.Utc_nowstr,token+10);
									token=strtok(NULL,"/");
									strcat((char *)timer_info.Utc_nowstr,token);
									token=strtok(NULL,",");
									strcat((char *)timer_info.Utc_nowstr,token);
									token=strtok(NULL,":");
									strcat((char *)timer_info.Utc_nowstr,token);
									token=strtok(NULL,":");
									strcat((char *)timer_info.Utc_nowstr,token);
									token=strtok(NULL,"+");
									strcat((char *)timer_info.Utc_nowstr,token);
									timer_info.timestamp = (uint32_t)StringToTimeStamp(timer_info.Utc_nowstr);
									air_4g_flag.get_realtime_flag = TRUE;
								}
							}
            }

            else if(strstr((char*)usart3_handle_4g.report_buf,"restTask\":1")!=NULL)
            {
                control_flag.restTask_flag = TRUE;
            }

            memset(usart3_handle_4g.report_buf,0,SAVE_SIZE);
        }
        osDelay(1);
  }
  /* USER CODE END StartTask03 */
}

void StartTask04(void const * argument)
{
  /* USER CODE BEGIN StartTask04 */
  /* Infinite loop */
	//-----------------------------------定时属性上报&数据处理TASK-----------------------------------//
	uint32_t Prewaketime = osKernelSysTick();

  for(;;)
    {
        // 注意1s计算一次霍尔差
        send_moto_cmd(MOTO1_HALL, MOTO_REGIS_NUM2, 0, MOTO_ReadREQ_ID);

        // 依据状态计算汇总时间
        if(control_flag.Car_State > CLOSE)
        {
            count_time.countRunTime++;
        }
        if(control_flag.Car_State == RUN)
        {
            if(control_flag.Draught_swith == TRUE)
            {
                count_time.countFanMachineryTime++;
            }
            if(control_flag.Pump_swith != G_0)
            {
                count_time.countWaterPumpTime++;
            }
        }

      //  // 绝对延时下看门狗4S喂狗
      //   if (control_flag.Iwdg_count == 4)
      //   {
      //       control_flag.Iwdg_count = 0;
      //       HAL_IWDG_Refresh(&hiwdg);
      //   }
      //   else
      //   {
      //       control_flag.Iwdg_count++;
      //   }

        osDelayUntil(&Prewaketime,1000);
    }
  /* USER CODE END StartTask04 */
}

/* Callback01 function */
void Callback01(void const * argument)
{
  /* USER CODE BEGIN Callback01 */
//	control_flag.sTimer_ms_100++;
//	control_flag.sTimer_ms_500++;

    // 1S计时
    if(control_flag.sTimer_ms_1000 < Count_1s)
    {
		control_flag.sTimer_ms_1000++;
	}

    // 5S计时
	if(control_flag.sTimer_ms_5000 < Count_5s)
    {
		control_flag.sTimer_ms_5000++;
	}

    // 10S计时
	if(control_flag.sTimer_ms_10000 < Count_10s)
    {
		control_flag.sTimer_ms_10000++;
	}

    // 60S计时
    if(control_flag.sTimer_ms_60000 < Count_60s)
    {
		control_flag.sTimer_ms_60000++;
	}

  /* USER CODE END Callback01 */
}
